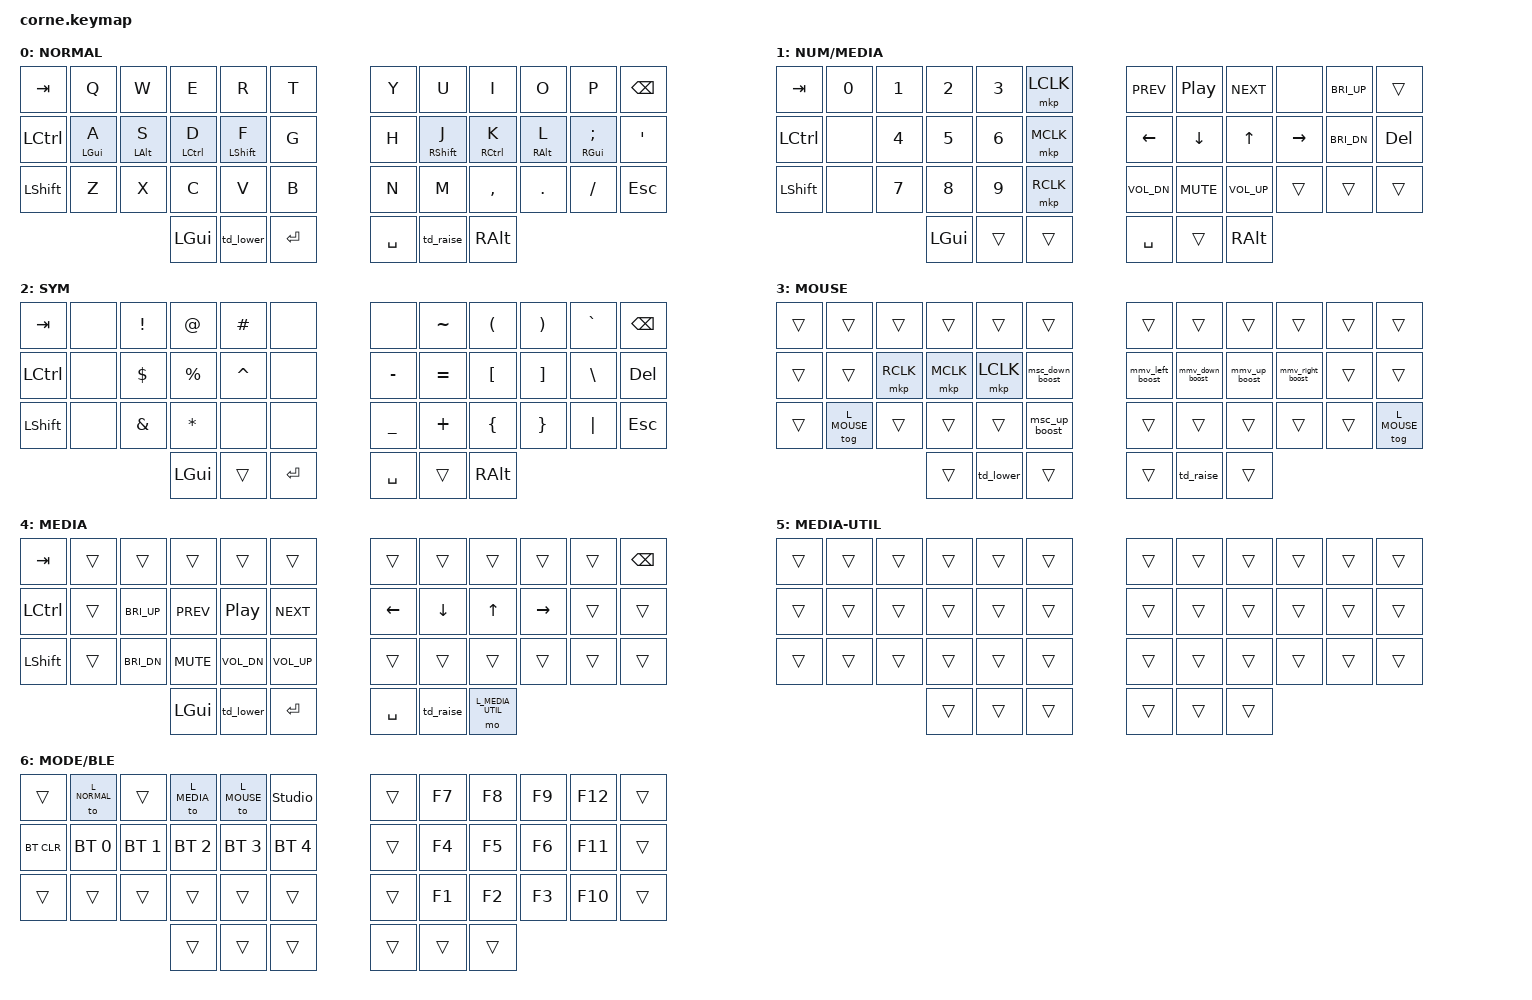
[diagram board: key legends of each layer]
/*
 * Copyright (c) 2020 The ZMK Contributors
 *
 * SPDX-License-Identifier: MIT
 */

#include <behaviors.dtsi>
#include <dt-bindings/zmk/keys.h>
#include <dt-bindings/zmk/bt.h>
#include <dt-bindings/zmk/pointing.h>

// ─── Layers ──────────────────────────────────────────────────────────────────
#define L_NORMAL     0
#define L_LOWER      1
#define L_RAISE      2
#define L_MOUSE      3
#define L_MEDIA      4
#define L_MEDIA_UTIL 5
#define L_MODE       6

// ─── Mouse speed (Shift held = fast) ─────────────────────────────────────────
#define DEFAULT_MOVE_VAL 800  // pixels per tick
#define DEFAULT_SCRL_VAL 10   // lines per tick
#define FAST_MOVE_VAL    1500
#define FAST_SCRL_VAL    20

/ {
    behaviors {
        // Lower/Raise: hold = momentary, double-tap = lock/unlock
        td_lower: td_lower {
            compatible = "zmk,behavior-tap-dance";
            #binding-cells = <0>;
            tapping-term-ms = <200>;
            bindings = <&mo L_LOWER>, <&tog L_LOWER>;
        };
        td_raise: td_raise {
            compatible = "zmk,behavior-tap-dance";
            #binding-cells = <0>;
            tapping-term-ms = <200>;
            bindings = <&mo L_RAISE>, <&tog L_RAISE>;
        };

        // Home row mods (GACS). Mod only fires when the OTHER hand (or a thumb) is pressed.
        hml: hml {
            compatible = "zmk,behavior-hold-tap";
            #binding-cells = <2>;
            flavor = "balanced";
            tapping-term-ms = <280>;
            quick-tap-ms = <175>;
            require-prior-idle-ms = <150>;
            hold-trigger-key-positions = <6 7 8 9 10 11 18 19 20 21 22 23 30 31 32 33 34 35 36 37 38 39 40 41>;
            hold-trigger-on-release;
            bindings = <&kp>, <&kp>;
        };
        hmr: hmr {
            compatible = "zmk,behavior-hold-tap";
            #binding-cells = <2>;
            flavor = "balanced";
            tapping-term-ms = <280>;
            quick-tap-ms = <175>;
            require-prior-idle-ms = <150>;
            hold-trigger-key-positions = <0 1 2 3 4 5 12 13 14 15 16 17 24 25 26 27 28 29 36 37 38 39 40 41>;
            hold-trigger-on-release;
            bindings = <&kp>, <&kp>;
        };

        // Mouse move/scroll: Shift held = boosted speed
        mmv_left_boost: mmv_left_boost {
            compatible = "zmk,behavior-mod-morph";
            #binding-cells = <0>;
            mods = <(MOD_LSFT|MOD_RSFT)>;
            bindings = <&mmv MOVE_X(-DEFAULT_MOVE_VAL)>, <&mmv MOVE_X(-FAST_MOVE_VAL)>;
        };
        mmv_right_boost: mmv_right_boost {
            compatible = "zmk,behavior-mod-morph";
            #binding-cells = <0>;
            mods = <(MOD_LSFT|MOD_RSFT)>;
            bindings = <&mmv MOVE_X(DEFAULT_MOVE_VAL)>, <&mmv MOVE_X(FAST_MOVE_VAL)>;
        };
        mmv_up_boost: mmv_up_boost {
            compatible = "zmk,behavior-mod-morph";
            #binding-cells = <0>;
            mods = <(MOD_LSFT|MOD_RSFT)>;
            bindings = <&mmv MOVE_Y(-DEFAULT_MOVE_VAL)>, <&mmv MOVE_Y(-FAST_MOVE_VAL)>;
        };
        mmv_down_boost: mmv_down_boost {
            compatible = "zmk,behavior-mod-morph";
            #binding-cells = <0>;
            mods = <(MOD_LSFT|MOD_RSFT)>;
            bindings = <&mmv MOVE_Y(DEFAULT_MOVE_VAL)>, <&mmv MOVE_Y(FAST_MOVE_VAL)>;
        };
        // Wheel Y (0x08): default speed, boosted speed
        msc_up_boost: msc_up_boost {
            compatible = "zmk,behavior-mod-morph";
            #binding-cells = <0>;
            mods = <(MOD_LSFT|MOD_RSFT)>;
            bindings = <&msc (((0x08 << 16) | ((-DEFAULT_SCRL_VAL) & 0xFFFF)))>, <&msc (((0x08 << 16) | ((-FAST_SCRL_VAL) & 0xFFFF)))>;
        };
        msc_down_boost: msc_down_boost {
            compatible = "zmk,behavior-mod-morph";
            #binding-cells = <0>;
            mods = <(MOD_LSFT|MOD_RSFT)>;
            bindings = <&msc (((0x08 << 16) | ((DEFAULT_SCRL_VAL) & 0xFFFF)))>, <&msc (((0x08 << 16) | ((FAST_SCRL_VAL) & 0xFFFF)))>;
        };
    };

    // Mode/BLE layer turns on while Lower and Raise are both active
    conditional_layers {
        compatible = "zmk,conditional-layers";
        lower_raise_mode_select {
            if-layers = <L_LOWER L_RAISE>;
            then-layer = <L_MODE>;
        };
    };

    keymap {
        compatible = "zmk,keymap";

        // ═════════════════════════════════════════════════════════════════════════════════════
        // NORMAL MODE: Normal + Lower/Raise sublayers
        // ═════════════════════════════════════════════════════════════════════════════════════

        default_layer {
            display-name = "NORMAL";
            // | TAB  |  Q  |  W  |  E  |  R  |  T  |   |  Y  |  U  |  I  |  O  |  P  | BSPC |
            // | CTRL |  A  |  S  |  D  |  F  |  G  |   |  H  |  J  |  K  |  L  |  ;  |  '   |
            // | SHFT |  Z  |  X  |  C  |  V  |  B  |   |  N  |  M  |  ,  |  .  |  /  | ESC  |
            //                    | GUI | LWR | RET |   | SPC | RSE | ALT |
            bindings = <
            &kp TAB   &kp Q &kp W &kp E    &kp R     &kp T     &kp Y     &kp U     &kp I     &kp O   &kp P    &kp BSPC
            &kp LCTRL &hml LGUI A &hml LALT S &hml LCTRL D &hml LSHFT F &kp G     &kp H     &hmr RSHFT J &hmr RCTRL K &hmr RALT L &hmr RGUI SEMI &kp SQT
            &kp LSHFT &kp Z &kp X &kp C    &kp V     &kp B     &kp N     &kp M     &kp COMMA &kp DOT &kp FSLH &kp ESC
                                  &kp LGUI &td_lower &kp RET   &kp SPACE &td_raise &kp RALT
            >;
        };

        lower_layer {
            display-name = "NUM/MEDIA";
            // | TAB  |  0  |  1  |  2  |  3  |LCLK |   |PREV |PLAY |NEXT |     |BRI+ | BSPC |
            // | CTRL |     |  4  |  5  |  6  |MCLK |   | LFT | DWN | UP  | RGT |BRI- | DEL  |
            // | SHFT |     |  7  |  8  |  9  |RCLK |   |VOL- |MUTE |VOL+ |     |     |      |
            //                    | GUI |HELD |     |   | SPC |     | ALT |
            bindings = <
            &kp TAB   &kp N0 &kp N1 &kp N2   &kp N3 &mkp LCLK   &kp C_PREV   &kp C_PP   &kp C_NEXT   &none     &kp C_BRI_UP &trans
            &kp LCTRL &none  &kp N4 &kp N5   &kp N6 &mkp MCLK   &kp LEFT     &kp DOWN   &kp UP       &kp RIGHT &kp C_BRI_DN &kp DEL
            &kp LSHFT &none  &kp N7 &kp N8   &kp N9 &mkp RCLK   &kp C_VOL_DN &kp C_MUTE &kp C_VOL_UP &trans    &trans       &trans
                                    &kp LGUI &trans &trans      &kp SPACE    &trans     &kp RALT
            >;
        };

        raise_layer {
            display-name = "SYM";
            // | TAB  |     |  !  |  @  |  #  |     |   |     |  ~  |  (  |  )  |  `  | BSPC |
            // | CTRL |     |  $  |  %  |  ^  |     |   |  -  |  =  |  [  |  ]  |  \  | DEL  |
            // | SHFT |     |  &  |  *  |     |     |   |  _  |  +  |  {  |  }  |  |  | ESC  |
            //                    | GUI |     | RET |   | SPC |HELD | ALT |
            bindings = <
            &kp TAB   &none &kp EXCL &kp AT    &kp HASH  &none     &none     &kp TILDE &kp LPAR &kp RPAR &kp GRAVE &kp BSPC
            &kp LCTRL &none &kp DLLR &kp PRCNT &kp CARET &none     &kp MINUS &kp EQUAL &kp LBKT &kp RBKT &kp BSLH  &kp DEL
            &kp LSHFT &none &kp AMPS &kp ASTRK &none     &none     &kp UNDER &kp PLUS  &kp LBRC &kp RBRC &kp PIPE  &kp ESC
                                     &kp LGUI  &trans    &kp RET   &kp SPACE &trans    &kp RALT
            >;
        };

        // ═════════════════════════════════════════════════════════════════════════════════════
        // MOUSE MODE
        // ═════════════════════════════════════════════════════════════════════════════════════

        mouse_layer {
            display-name = "MOUSE";
            // Hold Shift: faster move/scroll (boost behaviors)
            // |      |     |     |     |     |     |   |     |     |     |     |     |      |
            // |      |     |RCLK |MCLK |LCLK |SCRL↓|   |  ←  |  ↓  |  ↑  |  →  |     |      |
            // |      |TOG3 |     |     |     |SCRL↑|   |     |     |     |     |     | TOG3 |
            //                    |     | LWR |     |   |     | RSE |     |
            bindings = <
            &trans &trans       &trans    &trans    &trans    &trans            &trans          &trans          &trans        &trans           &trans &trans
            &trans &trans       &mkp RCLK &mkp MCLK &mkp LCLK &msc_down_boost   &mmv_left_boost &mmv_down_boost &mmv_up_boost &mmv_right_boost &trans &trans
            &trans &tog L_MOUSE &trans    &trans    &trans    &msc_up_boost     &trans          &trans          &trans        &trans           &trans &tog L_MOUSE
                                          &trans    &td_lower &trans            &trans          &td_raise       &trans
            >;
        };

        // ═════════════════════════════════════════════════════════════════════════════════════
        // MEDIA MODE: Media + Utils sublayer
        // ═════════════════════════════════════════════════════════════════════════════════════

        media_layer {
            display-name = "MEDIA";
            // RALT position holds media utils
            // | TAB  |     |     |     |     |     |   |     |     |     |     |     | BSPC |
            // | CTRL |     |BRI+ |PREV |PLAY |NEXT |   | LFT | DWN | UP  | RGT |     |      |
            // | SHFT |     |BRI- |MUTE |VOL- |VOL+ |   |     |     |     |     |     |      |
            //                    | GUI | LWR | RET |   | SPC | RSE |UTILS|
            bindings = <
            &kp TAB   &trans &trans       &trans     &trans       &trans         &trans    &trans    &trans           &trans    &trans &kp BSPC
            &kp LCTRL &trans &kp C_BRI_UP &kp C_PREV &kp C_PP     &kp C_NEXT     &kp LEFT  &kp DOWN  &kp UP           &kp RIGHT &trans &trans
            &kp LSHFT &trans &kp C_BRI_DN &kp C_MUTE &kp C_VOL_DN &kp C_VOL_UP   &trans    &trans    &trans           &trans    &trans &trans
                                          &kp LGUI   &td_lower    &kp RET        &kp SPACE &td_raise &mo L_MEDIA_UTIL
            >;
        };

        media_util_layer {
            display-name = "MEDIA-UTIL";
            // Empty - placeholder for extra media controls
            bindings = <
            &trans &trans &trans &trans &trans &trans   &trans &trans &trans &trans &trans &trans
            &trans &trans &trans &trans &trans &trans   &trans &trans &trans &trans &trans &trans
            &trans &trans &trans &trans &trans &trans   &trans &trans &trans &trans &trans &trans
                                 &trans &trans &trans   &trans &trans &trans
            >;
        };

        // ═════════════════════════════════════════════════════════════════════════════════════
        // MODE SELECT / BLE / F-keys
        // ═════════════════════════════════════════════════════════════════════════════════════

        mode_select_layer {
            display-name = "MODE/BLE";
            // Active while Lower+Raise are held (see conditional_layers)
            // |      |NORML|     |MEDIA|MOUSE|STUDIO|  |     | F7  | F8  | F9  | F12 |      |
            // |BTCLR | BT1 | BT2 | BT3 | BT4 | BT5 |   |     | F4  | F5  | F6  | F11 |      |
            // |      |     |     |     |     |     |   |     | F1  | F2  | F3  | F10 |      |
            //                    |     |HELD |     |   |     |HELD |     |
            bindings = <
            &trans     &to L_NORMAL &trans       &to L_MEDIA  &to L_MOUSE  &studio_unlock   &trans &kp F7 &kp F8 &kp F9 &kp F12 &trans
            &bt BT_CLR &bt BT_SEL 0 &bt BT_SEL 1 &bt BT_SEL 2 &bt BT_SEL 3 &bt BT_SEL 4     &trans &kp F4 &kp F5 &kp F6 &kp F11 &trans
            &trans     &trans       &trans       &trans       &trans       &trans           &trans &kp F1 &kp F2 &kp F3 &kp F10 &trans
                                                 &trans       &trans       &trans           &trans &trans &trans
            >;
        };
    };

    nyan_right: nyan_right {
        compatible = "zmk,widget-nyan";
        status = "okay";
        x = <96>;
        y = <0>;
        frame-delay-ms = <100>;
        timeout-ms = <10000>; // stop after 10s
    };
};
